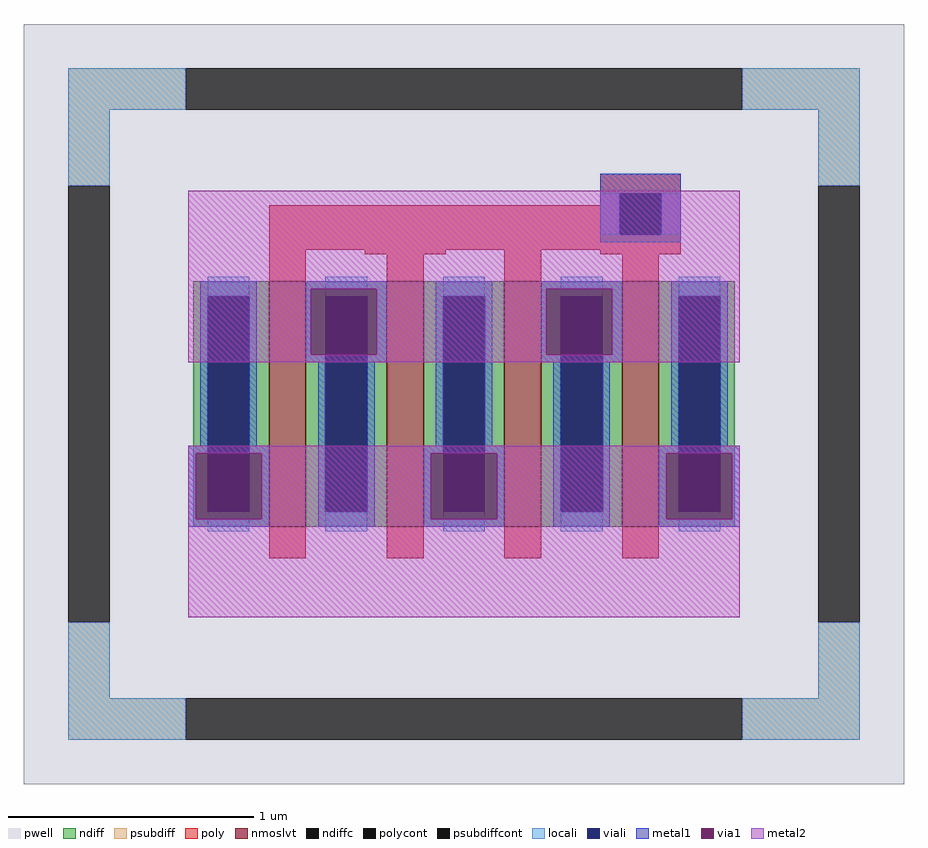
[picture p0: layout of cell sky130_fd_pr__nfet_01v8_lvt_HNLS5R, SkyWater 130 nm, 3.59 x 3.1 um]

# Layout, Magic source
magic
tech sky130A
<< pwell >>
rect -180 -155 179 155
<< nmoslvt >>
rect -80 -50 -65 50
rect -32 -50 -17 50
rect 16 -50 31 50
rect 64 -50 79 50
<< ndiff >>
rect -111 44 -80 50
rect -111 -44 -105 44
rect -88 -44 -80 44
rect -111 -50 -80 -44
rect -65 44 -32 50
rect -65 -44 -57 44
rect -40 -44 -32 44
rect -65 -50 -32 -44
rect -17 44 16 50
rect -17 -44 -9 44
rect 8 -44 16 44
rect -17 -50 16 -44
rect 31 44 64 50
rect 31 -44 39 44
rect 56 -44 64 44
rect 31 -50 64 -44
rect 79 44 110 50
rect 79 -44 87 44
rect 104 -44 110 44
rect 79 -50 110 -44
<< ndiffc >>
rect -105 -44 -88 44
rect -57 -44 -40 44
rect -9 -44 8 44
rect 39 -44 56 44
rect 87 -44 104 44
<< psubdiff >>
rect -162 120 -114 137
rect 113 120 161 137
rect -162 89 -145 120
rect 144 89 161 120
rect -162 -120 -145 -89
rect 144 -120 161 -89
rect -162 -137 -114 -120
rect 113 -137 161 -120
<< psubdiffcont >>
rect -114 120 113 137
rect -162 -89 -145 89
rect 144 -89 161 89
rect -114 -137 113 -120
<< poly >>
rect 55 86 88 94
rect 55 81 63 86
rect -80 69 63 81
rect 80 69 88 86
rect -80 63 88 69
rect -80 50 -65 63
rect -41 61 -8 63
rect -32 50 -17 61
rect 16 50 31 63
rect 55 61 88 63
rect 64 50 79 61
rect -80 -63 -65 -50
rect -32 -63 -17 -50
rect 16 -63 31 -50
rect 64 -63 79 -50
<< polycont >>
rect 63 69 80 86
<< locali >>
rect -162 120 -114 137
rect 113 120 161 137
rect -162 89 -145 120
rect 144 89 161 120
rect 55 69 63 86
rect 80 69 88 86
rect -105 44 -88 52
rect -105 -52 -88 -44
rect -57 44 -40 52
rect -57 -52 -40 -44
rect -9 44 8 52
rect -9 -52 8 -44
rect 39 44 56 52
rect 39 -52 56 -44
rect 87 44 104 52
rect 87 -52 104 -44
rect -162 -120 -145 -89
rect 144 -120 161 -89
rect -162 -137 -114 -120
rect 113 -137 161 -120
<< viali >>
rect 63 69 80 86
rect -105 -44 -88 44
rect -57 -44 -40 44
rect -9 -44 8 44
rect 39 -44 56 44
rect 87 -44 104 44
<< metal1 >>
rect 55 86 88 94
rect 55 69 63 86
rect 80 69 88 86
rect 55 66 88 69
rect -108 44 -85 50
rect -108 -17 -105 44
rect -113 -20 -105 -17
rect -88 -17 -85 44
rect -65 47 -32 50
rect -65 20 -63 47
rect -36 20 -32 47
rect -65 17 -57 20
rect -88 -20 -80 -17
rect -113 -47 -110 -20
rect -83 -47 -80 -20
rect -113 -50 -80 -47
rect -60 -44 -57 17
rect -40 17 -32 20
rect -12 44 11 50
rect -40 -44 -37 17
rect -12 -17 -9 44
rect -60 -50 -37 -44
rect -17 -20 -9 -17
rect 8 -17 11 44
rect 31 47 64 50
rect 31 20 33 47
rect 60 20 64 47
rect 31 17 39 20
rect 8 -20 16 -17
rect -17 -47 -14 -20
rect 13 -47 16 -20
rect -17 -50 16 -47
rect 36 -44 39 17
rect 56 17 64 20
rect 84 44 107 50
rect 56 -44 59 17
rect 84 -17 87 44
rect 36 -50 59 -44
rect 79 -20 87 -17
rect 104 -17 107 44
rect 104 -20 112 -17
rect 79 -47 82 -20
rect 109 -47 112 -20
rect 79 -50 112 -47
<< via1 >>
rect -63 44 -36 47
rect -63 20 -57 44
rect -57 20 -40 44
rect -40 20 -36 44
rect -110 -44 -105 -20
rect -105 -44 -88 -20
rect -88 -44 -83 -20
rect -110 -47 -83 -44
rect 33 44 60 47
rect 33 20 39 44
rect 39 20 56 44
rect 56 20 60 44
rect -14 -44 -9 -20
rect -9 -44 8 -20
rect 8 -44 13 -20
rect -14 -47 13 -44
rect 82 -44 87 -20
rect 87 -44 104 -20
rect 104 -44 109 -20
rect 82 -47 109 -44
<< metal2 >>
rect -113 47 112 87
rect -113 20 -63 47
rect -36 20 33 47
rect 60 20 112 47
rect -113 17 112 20
rect -113 -20 112 -17
rect -113 -47 -110 -20
rect -83 -47 -14 -20
rect 13 -47 82 -20
rect 109 -47 112 -20
rect -113 -87 112 -47
<< properties >>
string FIXED_BBOX -153 -128 153 128
string gencell sky130_fd_pr__nfet_01v8_lvt
string library sky130
string parameters w 1.0 l 0.15 m 1 nf 4 diffcov 100 polycov 100 guard 1 glc 1 grc 1 gtc 1 gbc 1 tbcov 100 rlcov 100 topc 1 botc 1 poverlap 0 doverlap 1 lmin 0.15 wmin 0.42 compatible {sky130_fd_pr__nfet_01v8 sky130_fd_pr__nfet_01v8_lvt  sky130_fd_bs_flash__special_sonosfet_star  sky130_fd_pr__nfet_g5v0d10v5 sky130_fd_pr__nfet_05v0_nvt  sky130_fd_pr__nfet_03v3_nvt} full_metal 1 viasrc 100 viadrn 100 viagate 100 viagb 0 viagr 0 viagl 0 viagt 0
<< end >>
